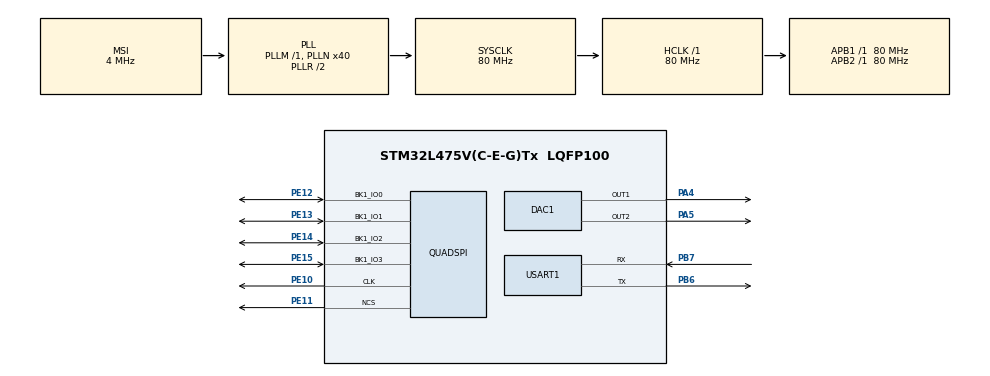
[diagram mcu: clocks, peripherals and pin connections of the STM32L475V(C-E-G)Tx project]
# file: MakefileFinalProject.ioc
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DAC1.DAC_Channel-DAC_OUT2=DAC_CHANNEL_2
Mcu.Family=STM32L4
Mcu.Name=STM32L475V(C-E-G)Tx
Mcu.Package=LQFP100
NVIC.PriorityGroup=NVIC_PRIORITYGROUP_4
NVIC.TIM1_TRG_COM_TIM17_IRQn=true\:0\:0\:false\:false\:true\:false\:true
NVIC.TIM3_IRQn=true\:0\:0\:false\:false\:true\:true\:true
NVIC.TimeBase=TIM1_TRG_COM_TIM17_IRQn
NVIC.TimeBaseIP=TIM17
PA4.Signal=COMP_DAC11_group
PA5.Signal=COMP_DAC12_group
PB6.Mode=Asynchronous
PB6.Signal=USART1_TX
PB7.Mode=Asynchronous
PB7.Signal=USART1_RX
PE10.Mode=Single Bank
PE10.Signal=QUADSPI_CLK
PE11.Mode=Single Bank
PE11.Signal=QUADSPI_NCS
PE12.Mode=Single Bank
PE12.Signal=QUADSPI_BK1_IO0
PE13.Mode=Single Bank
PE13.Signal=QUADSPI_BK1_IO1
PE14.Mode=Single Bank
PE14.Signal=QUADSPI_BK1_IO2
PE15.Mode=Single Bank
PE15.Signal=QUADSPI_BK1_IO3
ProjectManager.HeapSize=0x200
ProjectManager.StackSize=0x400
ProjectManager.TargetToolchain=Makefile
RCC.ADCFreq_Value=48000000
RCC.AHBFreq_Value=80000000
RCC.APB1Freq_Value=80000000
RCC.APB1TimFreq_Value=80000000
RCC.APB2Freq_Value=80000000
RCC.APB2TimFreq_Value=80000000
RCC.CortexFreq_Value=80000000
RCC.HCLKFreq_Value=80000000
RCC.HSE_VALUE=8000000
RCC.HSI_VALUE=16000000
RCC.LSE_VALUE=32768
RCC.MSI_VALUE=4000000
RCC.PLLN=40
RCC.PLLSAI1N=24
RCC.SYSCLKFreq_VALUE=80000000
RCC.SYSCLKSource=RCC_SYSCLKSOURCE_PLLCLK
RCC.USBFreq_Value=48000000
RCC.VCOOutputFreq_Value=160000000
SH.COMP_DAC11_group.0=DAC1_OUT1,DAC_OUT1
SH.COMP_DAC12_group.0=DAC1_OUT2,DAC_OUT2
TIM3.AutoReloadPreload=TIM_AUTORELOAD_PRELOAD_ENABLE
TIM3.Period=5000
USART1.VirtualMode-Asynchronous=VM_ASYNC
VP_RNG_VS_RNG.Mode=RNG_Activate
VP_SYS_VS_tim17.Mode=TIM17
VP_TIM3_VS_ClockSourceINT.Mode=Internal
board=B-L475E-IOT01A1

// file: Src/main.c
/* USER CODE BEGIN Header */
/**
 ******************************************************************************
 * @file           : main.c
 * @brief          : Main program body
 ******************************************************************************
 * @attention
 *
 * <h2><center>&copy; Copyright (c) 2019 STMicroelectronics.
 * All rights reserved.</center></h2>
 *
 * This software component is licensed by ST under BSD 3-Clause license,
 * the "License"; You may not use this file except in compliance with the
 * License. You may obtain a copy of the License at:
 *                        opensource.org/licenses/BSD-3-Clause
 *
 ******************************************************************************
 */
/* USER CODE END Header */

#include "main.h"

/* USER CODE BEGIN Includes */
#include <stdio.h>

#include "arm_math.h"
#include "stm32l475e_iot01.h"
#include "stm32l475e_iot01_qspi.h"
#include "fast_ica.h"
#include "sine_gen.h"
// #include <errno.h>
// #undef errno
// extern int errno;
/* USER CODE END Includes */

DAC_HandleTypeDef hdac1;

QSPI_HandleTypeDef hqspi;

RNG_HandleTypeDef hrng;

TIM_HandleTypeDef htim3;

UART_HandleTypeDef huart1;

/* USER CODE BEGIN PV */
volatile int tim3flag = 0;
/* USER CODE END PV */

void SystemClock_Config(void);
static void MX_GPIO_Init(void);
static void MX_DAC1_Init(void);
static void MX_QUADSPI_Init(void);
static void MX_TIM3_Init(void);
static void MX_USART1_UART_Init(void);
static void MX_RNG_Init(void);

/* USER CODE BEGIN 0 */
int _write(int fd, char *ptr, int len) {
    while (HAL_OK != HAL_UART_Transmit(&huart1, (uint8_t *)ptr, len, HAL_UART_TIMEOUT_VALUE))
        ;
    return (len);
}

int _read(int fd, char *ptr, int len) {
    while (HAL_OK != HAL_UART_Receive(&huart1, (uint8_t *)ptr, 1, HAL_UART_TIMEOUT_VALUE))
        ;
    return 1;
}

void centerDACValue() {
    for (int i = 0; i < 2048; i++) {
        while (tim3flag == 0)
            ;
        HAL_DAC_SetValue(&hdac1, DAC_CHANNEL_1, DAC_ALIGN_12B_R, i);
        HAL_DAC_SetValue(&hdac1, DAC_CHANNEL_2, DAC_ALIGN_12B_R, i);
        tim3flag = 0;
    }
}

void zeroDACValue() {
    int sv1 = HAL_DAC_GetValue(&hdac1, DAC_CHANNEL_1);
    int sv2 = HAL_DAC_GetValue(&hdac1, DAC_CHANNEL_2);
    for (int i = 0; i < sv1 || i < sv2; i++) {
        while (tim3flag == 0)
            ;
        HAL_DAC_SetValue(&hdac1, DAC_CHANNEL_1, DAC_ALIGN_12B_R, (sv1 - i) > 0 ? sv1 - i : 0);
        HAL_DAC_SetValue(&hdac1, DAC_CHANNEL_2, DAC_ALIGN_12B_R, (sv2 - i) > 0 ? sv2 - i : 0);
        tim3flag = 0;
    }
    HAL_DAC_SetValue(&hdac1, DAC_CHANNEL_1, DAC_ALIGN_12B_R, 0);
    HAL_DAC_SetValue(&hdac1, DAC_CHANNEL_2, DAC_ALIGN_12B_R, 0);
}
/* USER CODE END 0 */

int main(void) {

    /* MCU Configuration--------------------------------------------------------*/

    /* Reset of all peripherals, Initializes the Flash interface and the Systick. */
    HAL_Init();

    /* Configure the system clock */
    SystemClock_Config();

    /* Initialize all configured peripherals */
    MX_GPIO_Init();
    MX_DAC1_Init();
    MX_TIM3_Init();
    MX_USART1_UART_Init();
    MX_RNG_Init();
    /* USER CODE BEGIN 2 */
    HAL_DAC_Start(&hdac1, DAC_CHANNEL_1);
    HAL_DAC_Start(&hdac1, DAC_CHANNEL_2);
    HAL_TIM_Base_Start_IT(&htim3);

    // uint32_t rand;
    // for (int i = 0; i < 20; i++) {
    //     HAL_RNG_GenerateRandomNumber(&hrng, &rand);
    //     printf("%lu\n", rand);
    // }

    SineWave wav1 = {.amplitude = 0.9, .freq = 440.0, .base_addr = get_base_address()};

    SineWave wav2 = {.amplitude = 0.9, .freq = 261.23, .base_addr = get_base_address()};

    SineWave wav3 = {.amplitude = 0.9, .freq = 392, .base_addr = get_base_address()};

    SineWave mixL = {.amplitude = 1, .freq = 0, .base_addr = get_base_address()};

    SineWave mixR = {.amplitude = 1, .freq = 0, .base_addr = get_base_address()};

    SineWave unmixL = {.amplitude = 1, .freq = 0, .base_addr = get_base_address()};

    SineWave unmixR = {.amplitude = 1, .freq = 0, .base_addr = get_base_address()};

    sine_gen_init();

    sine_wave_gen(&wav1);
    centerDACValue();
    play_sine_wave(&wav1, &wav1);
    zeroDACValue();

    float freqInput;
    printf("Enter freq 1\n");
    scanf("%f", &freqInput);
    printf("You entered %f\n", freqInput);
    wav2.freq = freqInput;

    printf("Enter freq 2\n");
    scanf("%f", &freqInput);
    printf("You entered %f\n", freqInput);
    wav3.freq = freqInput;

    sine_wave_gen(&wav2);
    sine_wave_gen(&wav3);

    // print_sine_wave(&wav2, &wav3);
    // print_sine_wave(&mixL, &mixR);

    combine_sine_waves(&mixL, &mixR, &wav2, &wav3);

    centerDACValue();
    play_sine_wave(&wav2, &wav2);
    play_sine_wave(&wav3, &wav3);
    play_sine_wave(&mixL, &mixL);
    play_sine_wave(&mixR, &mixR);
    zeroDACValue();

    // print_sine_wave(&wav2, &wav3);
    // print_sine_wave(&mixL, &mixR);

    // for (int i = 0; i < 10; i++) {
    fast_ica(&unmixL, &unmixR, &mixL, &mixR);

    // print_sine_wave(&wav2, &wav3);
    // print_sine_wave(&mixL, &mixR);
    centerDACValue();
    // for (int i = 0; i < 3; i++) {
    while (1) {
        play_sine_wave(&wav2, &wav2);
        play_sine_wave(&wav3, &wav3);
        play_sine_wave(&mixL, &mixL);
        play_sine_wave(&mixR, &mixR);
        play_sine_wave(&unmixL, &unmixL);
        play_sine_wave(&unmixR, &unmixR);
        for (int i = 0; i < 16000; i++) {
            while (tim3flag == 0);
            tim3flag = 0;
        }
    }
    zeroDACValue();

    /* USER CODE END 2 */

    /* Infinite loop */
    while (1) {

    }
}

void SystemClock_Config(void) {
    RCC_OscInitTypeDef RCC_OscInitStruct = {0};
    RCC_ClkInitTypeDef RCC_ClkInitStruct = {0};
    RCC_PeriphCLKInitTypeDef PeriphClkInit = {0};

    /** Initializes the CPU, AHB and APB busses clocks
     */
    RCC_OscInitStruct.OscillatorType = RCC_OSCILLATORTYPE_MSI;
    RCC_OscInitStruct.MSIState = RCC_MSI_ON;
    RCC_OscInitStruct.MSICalibrationValue = 0;
    RCC_OscInitStruct.MSIClockRange = RCC_MSIRANGE_6;
    RCC_OscInitStruct.PLL.PLLState = RCC_PLL_ON;
    RCC_OscInitStruct.PLL.PLLSource = RCC_PLLSOURCE_MSI;
    RCC_OscInitStruct.PLL.PLLM = 1;
    RCC_OscInitStruct.PLL.PLLN = 40;
    RCC_OscInitStruct.PLL.PLLP = RCC_PLLP_DIV7;
    RCC_OscInitStruct.PLL.PLLQ = RCC_PLLQ_DIV2;
    RCC_OscInitStruct.PLL.PLLR = RCC_PLLR_DIV2;
    if (HAL_RCC_OscConfig(&RCC_OscInitStruct) != HAL_OK) {
        Error_Handler();
    }
    /** Initializes the CPU, AHB and APB busses clocks
     */
    RCC_ClkInitStruct.ClockType = RCC_CLOCKTYPE_HCLK | RCC_CLOCKTYPE_SYSCLK | RCC_CLOCKTYPE_PCLK1 | RCC_CLOCKTYPE_PCLK2;
    RCC_ClkInitStruct.SYSCLKSource = RCC_SYSCLKSOURCE_PLLCLK;
    RCC_ClkInitStruct.AHBCLKDivider = RCC_SYSCLK_DIV1;
    RCC_ClkInitStruct.APB1CLKDivider = RCC_HCLK_DIV1;
    RCC_ClkInitStruct.APB2CLKDivider = RCC_HCLK_DIV1;

    if (HAL_RCC_ClockConfig(&RCC_ClkInitStruct, FLASH_LATENCY_4) != HAL_OK) {
        Error_Handler();
    }
    PeriphClkInit.PeriphClockSelection = RCC_PERIPHCLK_USART1 | RCC_PERIPHCLK_RNG;
    PeriphClkInit.Usart1ClockSelection = RCC_USART1CLKSOURCE_PCLK2;
    PeriphClkInit.RngClockSelection = RCC_RNGCLKSOURCE_PLLSAI1;
    PeriphClkInit.PLLSAI1.PLLSAI1Source = RCC_PLLSOURCE_MSI;
    PeriphClkInit.PLLSAI1.PLLSAI1M = 1;
    PeriphClkInit.PLLSAI1.PLLSAI1N = 24;
    PeriphClkInit.PLLSAI1.PLLSAI1P = RCC_PLLP_DIV7;
    PeriphClkInit.PLLSAI1.PLLSAI1Q = RCC_PLLQ_DIV2;
    PeriphClkInit.PLLSAI1.PLLSAI1R = RCC_PLLR_DIV2;
    PeriphClkInit.PLLSAI1.PLLSAI1ClockOut = RCC_PLLSAI1_48M2CLK;
    if (HAL_RCCEx_PeriphCLKConfig(&PeriphClkInit) != HAL_OK) {
        Error_Handler();
    }
    /** Configure the main internal regulator output voltage
     */
    if (HAL_PWREx_ControlVoltageScaling(PWR_REGULATOR_VOLTAGE_SCALE1) != HAL_OK) {
        Error_Handler();
    }
}

static void MX_DAC1_Init(void) {

    DAC_ChannelConfTypeDef sConfig = {0};

    /** DAC Initialization
     */
    hdac1.Instance = DAC1;
    if (HAL_DAC_Init(&hdac1) != HAL_OK) {
        Error_Handler();
    }
    /** DAC channel OUT1 config
     */
    sConfig.DAC_SampleAndHold = DAC_SAMPLEANDHOLD_DISABLE;
    sConfig.DAC_Trigger = DAC_TRIGGER_NONE;
    sConfig.DAC_OutputBuffer = DAC_OUTPUTBUFFER_ENABLE;
    sConfig.DAC_ConnectOnChipPeripheral = DAC_CHIPCONNECT_DISABLE;
    sConfig.DAC_UserTrimming = DAC_TRIMMING_FACTORY;
    if (HAL_DAC_ConfigChannel(&hdac1, &sConfig, DAC_CHANNEL_1) != HAL_OK) {
        Error_Handler();
    }
    /** DAC channel OUT2 config
     */
    sConfig.DAC_ConnectOnChipPeripheral = DAC_CHIPCONNECT_DISABLE;
    if (HAL_DAC_ConfigChannel(&hdac1, &sConfig, DAC_CHANNEL_2) != HAL_OK) {
        Error_Handler();
    }
}

static void MX_QUADSPI_Init(void) {

    /* QUADSPI parameter configuration*/
    hqspi.Instance = QUADSPI;
    hqspi.Init.ClockPrescaler = 255;
    hqspi.Init.FifoThreshold = 1;
    hqspi.Init.SampleShifting = QSPI_SAMPLE_SHIFTING_NONE;
    hqspi.Init.FlashSize = 1;
    hqspi.Init.ChipSelectHighTime = QSPI_CS_HIGH_TIME_1_CYCLE;
    hqspi.Init.ClockMode = QSPI_CLOCK_MODE_0;
    if (HAL_QSPI_Init(&hqspi) != HAL_OK) {
        Error_Handler();
    }
}

static void MX_RNG_Init(void) {

    hrng.Instance = RNG;
    if (HAL_RNG_Init(&hrng) != HAL_OK) {
        Error_Handler();
    }
}

static void MX_TIM3_Init(void) {

    TIM_ClockConfigTypeDef sClockSourceConfig = {0};
    TIM_MasterConfigTypeDef sMasterConfig = {0};

    htim3.Instance = TIM3;
    htim3.Init.Prescaler = 0;
    htim3.Init.CounterMode = TIM_COUNTERMODE_UP;
    htim3.Init.Period = 5000;
    htim3.Init.ClockDivision = TIM_CLOCKDIVISION_DIV1;
    htim3.Init.AutoReloadPreload = TIM_AUTORELOAD_PRELOAD_ENABLE;
    if (HAL_TIM_Base_Init(&htim3) != HAL_OK) {
        Error_Handler();
    }
    sClockSourceConfig.ClockSource = TIM_CLOCKSOURCE_INTERNAL;
    if (HAL_TIM_ConfigClockSource(&htim3, &sClockSourceConfig) != HAL_OK) {
        Error_Handler();
    }
    sMasterConfig.MasterOutputTrigger = TIM_TRGO_RESET;
    sMasterConfig.MasterSlaveMode = TIM_MASTERSLAVEMODE_DISABLE;
    if (HAL_TIMEx_MasterConfigSynchronization(&htim3, &sMasterConfig) != HAL_OK) {
        Error_Handler();
    }
}

static void MX_USART1_UART_Init(void) {

    huart1.Instance = USART1;
    huart1.Init.BaudRate = 115200;
    huart1.Init.WordLength = UART_WORDLENGTH_8B;
    huart1.Init.StopBits = UART_STOPBITS_1;
    huart1.Init.Parity = UART_PARITY_NONE;
    huart1.Init.Mode = UART_MODE_TX_RX;
    huart1.Init.HwFlowCtl = UART_HWCONTROL_NONE;
    huart1.Init.OverSampling = UART_OVERSAMPLING_16;
    huart1.Init.OneBitSampling = UART_ONE_BIT_SAMPLE_DISABLE;
    huart1.AdvancedInit.AdvFeatureInit = UART_ADVFEATURE_NO_INIT;
    if (HAL_UART_Init(&huart1) != HAL_OK) {
        Error_Handler();
    }
}

static void MX_GPIO_Init(void) {
    /* GPIO Ports Clock Enable */
    __HAL_RCC_GPIOA_CLK_ENABLE();
    __HAL_RCC_GPIOE_CLK_ENABLE();
    __HAL_RCC_GPIOB_CLK_ENABLE();
}

void HAL_TIM_PeriodElapsedCallback(TIM_HandleTypeDef *htim) {
    if (htim->Instance == TIM17) {
        HAL_IncTick();
    }
}

void Error_Handler(void) {
}

/************************ (C) COPYRIGHT STMicroelectronics *****END OF FILE****/
